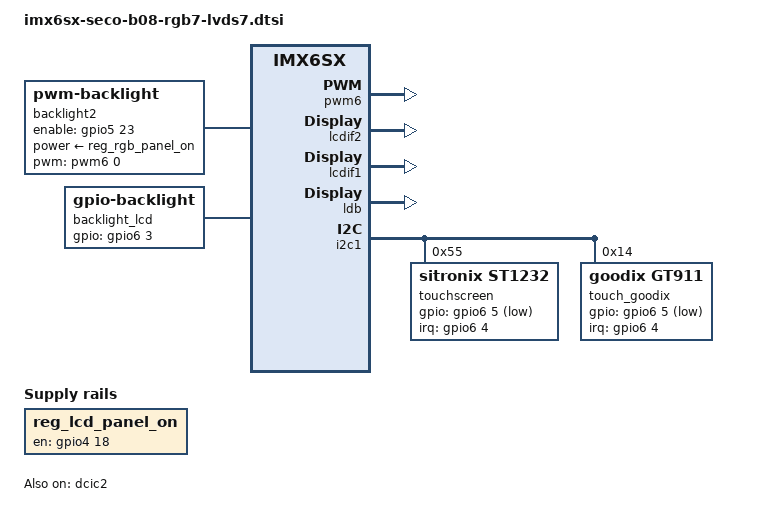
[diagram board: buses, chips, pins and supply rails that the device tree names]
/*
* Author: Giuseppe Pagano <giuseppe.pagano@seco.com>
*
* This program is free software; you can redistribute it and/or modify
* it under the terms of the GNU General Public License version 2 as
* published by the Free Software Foundation.
*
*
*/

#include "imx6sx-seco-b08.dtsi"

/ {
        aliases {
                lcdif0 = &lcdif2;
                lcdif1 = &lcdif1;
        };

	backlight2 {
                compatible = "pwm-backlight";
                pwms = <&pwm6 0 5000000>;
                brightness-levels = <0 4 8 16 32 64 128 200 255>;
                default-brightness-level = <7>;
                fb-names = "mxs-lcdif1";
                default-on;
                power-supply = <&reg_rgb_panel_on>;
                enable-gpios = <&gpio5 23 GPIO_ACTIVE_HIGH>;
                status = "okay";
	};

        backlight_lcd {
                compatible = "gpio-backlight";
                gpios = <&gpio6 3 GPIO_ACTIVE_HIGH>;
                default-on;
                status = "okay";
        };
  
                  reg_lcd_panel_on: lcd_pon {
                          compatible = "regulator-fixed";
                          regulator-name = "LCD PANEL_ON";
                          gpio = <&gpio4 18 GPIO_ACTIVE_HIGH>;
                          enable-active-high;
                  };

};

&pwm6 {
        pinctrl-names = "default";
        pinctrl-0 = <&pinctrl_pwm6>;
        status = "okay";
};

&lcdif2 {
	display = <&display0>;
	disp-dev = "ldb";
	lcd-supply = <&reg_lcd_panel_on>;
	status = "okay";

	display0: display {
		bits-per-pixel = <16>;
		bus-width = <18>;
	};
};

&lcdif1 {
        pinctrl-names = "default";
        pinctrl-0 = <&pinctrl_lcdif_dat_0
        &pinctrl_rbg_lcd
        &pinctrl_lcdif_ctrl_0>;
        lcd-supply = <&vgen5_reg>;
        display = <&display1>;
        status = "okay";

        display1: display {
                bits-per-pixel = <32>;
                bus-width = <24>;

                display-timings {
                        native-mode = <&timing0>;
                        timing0: timing0 {
                                clock-frequency = <38000000>;
                                hactive = <800>;
                                vactive = <480>;
                                hback-porch = <56>;
                                hfront-porch = <50>;
                                vback-porch = <20>;
                                vfront-porch = <53>;
                                hsync-len = <180>;
                                vsync-len = <30>;
                                hsync-active = <0>;
                                vsync-active = <1>;
                                de-active = <1>;
                                pixelclk-active = <0>;
                        };
                };
        };
};

&ldb {
	pinctrl-names = "default";
	pinctrl-0 = <&pinctrl_ldb_0>;
	status = "okay";

	lvds-channel@0 {
		fsl,data-mapping = "spwg";
		fsl,data-width = <18>;
		crtc = "lcdif2";
		status = "okay";
		
		display-timings {
			native-mode = <&timing2>;
			timing2: LDB-WVGA {
				clock-frequency = <33660000>;
				hactive = <800>;
				vactive = <480>;
				hback-porch = <56>;
				hfront-porch = <50>;
				vback-porch = <23>;
				vfront-porch = <20>;
				hsync-len = <150>;
				vsync-len = <2>;
			};
		};
	};
};

&i2c1 {
	touchscreen: st1232@55 {
		pinctrl-names = "default";
		pinctrl-0 = <&pinctrl_st1232>;
		compatible = "sitronix,st1232";
		reg = <0x55>;
		interrupt-parent = <&gpio6>;
		interrupts = <4 IRQ_TYPE_LEVEL_LOW>;
		gpios = <&gpio6 5 GPIO_ACTIVE_LOW>;
	};
        touch_goodix: gt911@14 {
                compatible = "goodix,gt911";
                reg = <0x14>;
 		pinctrl-names = "default";
 		pinctrl-0 = <&pinctrl_gt911>;
                interrupt-parent = <&gpio6>;
 		interrupts = <4 IRQ_TYPE_LEVEL_LOW>;
		gpios = <&gpio6 5 GPIO_ACTIVE_LOW>;
 		interrupt-gpio = <164>;
 		reset-gpio = <165>;
		ts-max-width = <800>;
		ts-max-height = <480>;
		ts-max-finger = <1>;
        };
};

&dcic2 {
	dcic_id = <1>;
	dcic_mux = "dcic-lvds";
	status = "okay";
};
